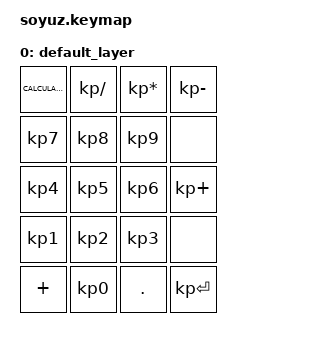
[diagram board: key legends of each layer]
/*
 * Copyright (c) 2020 The ZMK Contributors
 *
 * SPDX-License-Identifier: MIT
 */
#include <behaviors.dtsi>
#define TIMEOUT 300

/ {

    combos {
        compatible = "zmk,combos";
        combo_reset {
            timeout-ms = <TIMEOUT>;
            key-positions = <0 2>;
            bindings = <&sys_reset>;
        };
        combo_bootloader {
            timeout-ms = <TIMEOUT>;
            key-positions = <0 3>;
            bindings = <&bootloader>;
        };
    };
    keymap {
        compatible = "zmk,keymap";

        default_layer {
//  -------------------------------------
//  | NUMLOCK     | FSLH     | * | BSPC |
//  | 7           | 8        | 9 | -    |
//  | 4           | 5        | 6 | +    |
//  | 1           | 2        | 3 | =    |
//  | NONE        | 0        | . | =    |
            bindings = <
&kp K_CALCULATOR   &kp KP_DIVIDE  &kp KP_MULTIPLY &kp KP_MINUS
&kp KP_N7          &kp KP_N8   &kp KP_N9   &none
&kp KP_N4          &kp KP_N5   &kp KP_N6   &kp KP_PLUS
&kp KP_N1          &kp KP_N2   &kp KP_N3   &none
&kp PLUS &kp KP_N0   &kp DOT  &kp KP_ENTER
            >;

        };
    };
};
&kscan0 {
    debounce-press-ms = <5>;
    debounce-release-ms = <5>;
};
